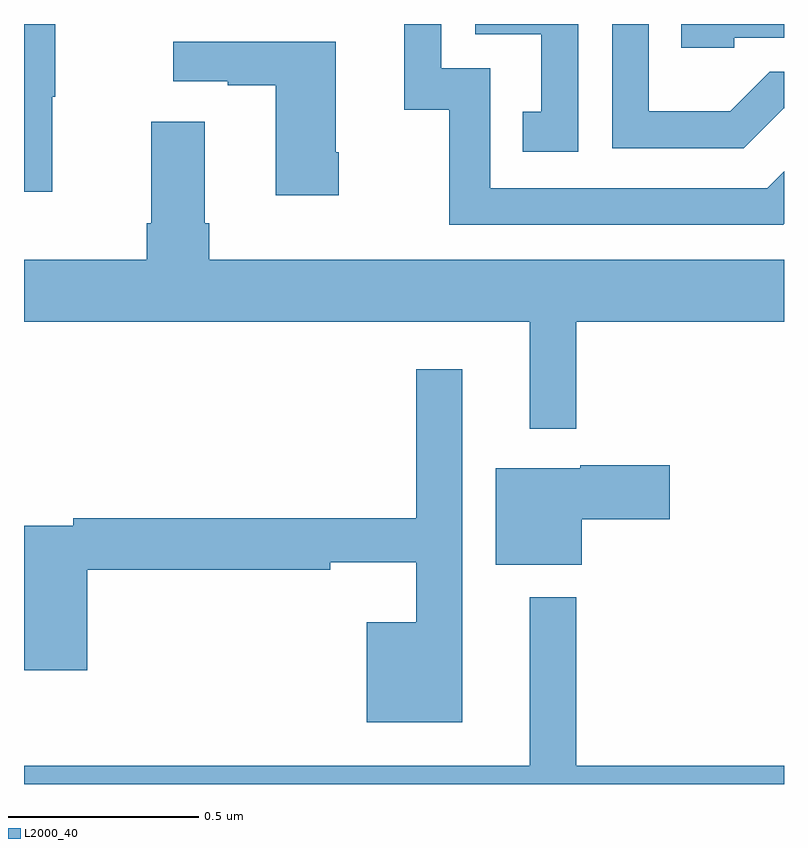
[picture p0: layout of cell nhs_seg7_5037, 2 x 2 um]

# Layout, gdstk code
import gdstk
lib = gdstk.Library(unit=1e-6, precision=1e-09)
def P(c, l, *ps):  # polygons
    for p in ps: c.add(gdstk.Polygon(p, *l))
L2000_40 = (2000, 40)

nhs_seg7_5037 = lib.new_cell('nhs_seg7_5037')
P(nhs_seg7_5037, L2000_40, [(180.074,1067.808),(180.082,1067.808),(180.082,1068),(180,1068),(180,1067.559),(180.074,1067.559)],
  [(181.869,1067.964),(182,1067.964),(182,1068),(181.729,1068),(181.729,1067.937),(181.869,1067.937)],
  [(181.458,1068),(181.188,1068),(181.188,1067.973),(181.361,1067.973),(181.361,1067.769),(181.312,1067.769),(181.312,1067.664),(181.458,1067.664)],
  [(181.999,1067.778),(182,1067.778),(182,1067.874),(181.962,1067.874),(181.858,1067.77),(181.644,1067.77),(181.644,1068),(181.548,1068),(181.548,1067.673),(181.894,1067.673)],
  [(182,1067.474),(182,1067.612),(181.956,1067.568),(181.227,1067.568),(181.227,1067.883),(181.098,1067.883),(181.098,1068),(181.001,1068),(181.001,1067.775),(181.119,1067.775),(181.119,1067.472),(181.998,1067.472)],
  [(180.828,1067.662),(180.82,1067.662),(180.82,1067.953),(180.393,1067.953),(180.393,1067.849),(180.536,1067.849),(180.536,1067.839),(180.662,1067.839),(180.662,1067.55),(180.828,1067.55)],
  [(180.475,1067.476),(180.475,1067.743),(180.335,1067.743),(180.335,1067.476),(180.323,1067.476),(180.323,1067.38),(180,1067.38),(180,1067.216),(181.331,1067.216),(181.331,1066.935),(181.453,1066.935),(181.453,1067.216),(182,1067.216),(182,1067.38),(180.488,1067.38),(180.488,1067.476)],
  [(181.153,1067.092),(181.032,1067.092),(181.032,1066.7),(180.13,1066.7),(180.13,1066.68),(180,1066.68),(180,1066.299),(180.167,1066.299),(180.167,1066.564),(180.806,1066.564),(180.806,1066.583),(181.032,1066.583),(181.032,1066.426),(180.902,1066.426),(180.902,1066.163),(181.153,1066.163)],
  [(181.468,1066.697),(181.699,1066.697),(181.699,1066.839),(181.464,1066.839),(181.464,1066.831),(181.241,1066.831),(181.241,1066.577),(181.468,1066.577)],
  [(180,1066),(182,1066),(182,1066.048),(181.453,1066.048),(181.453,1066.492),(181.331,1066.492),(181.331,1066.048),(180,1066.048)])

lib.write_gds('nhs_seg7_5037.gds')
